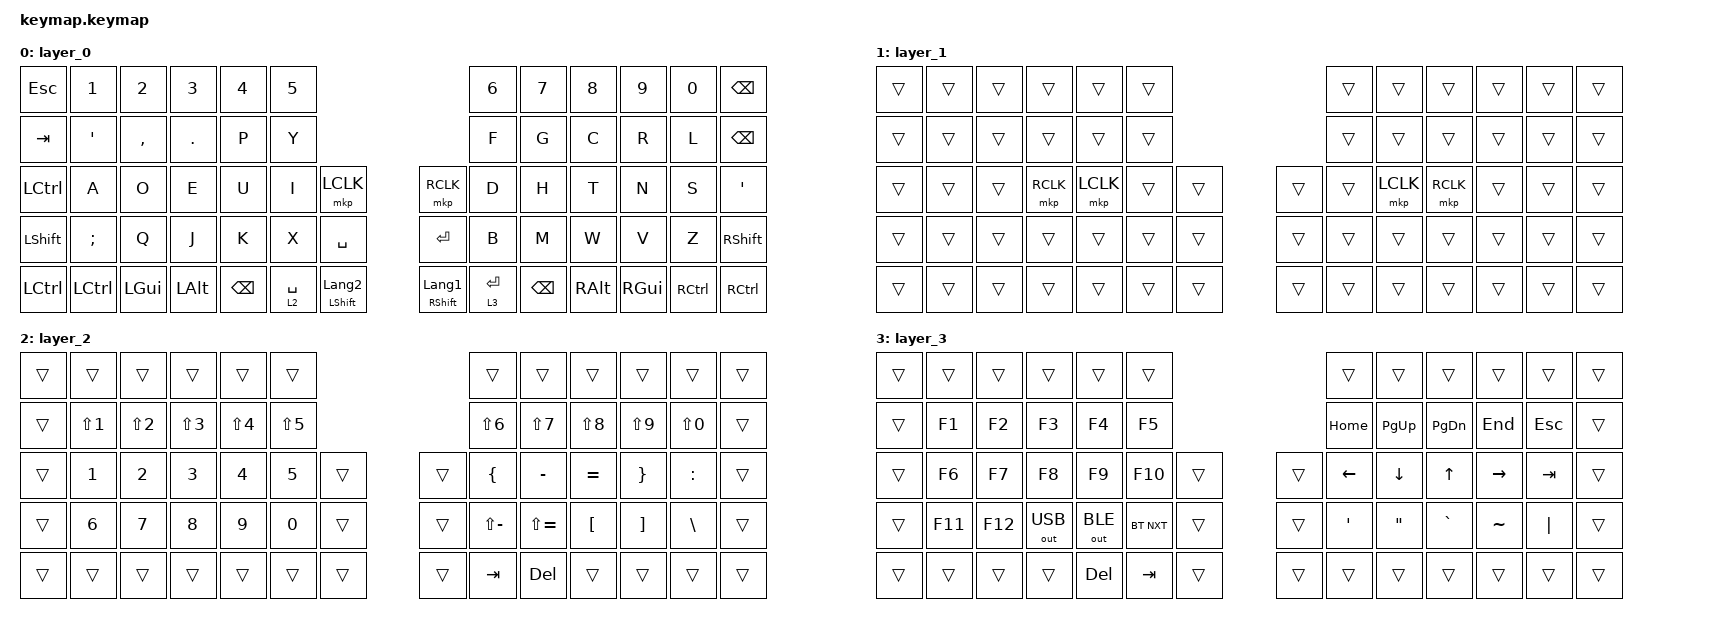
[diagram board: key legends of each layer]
#include <behaviors.dtsi>
#include <dt-bindings/zmk/bt.h>
#include <dt-bindings/zmk/keys.h>
#include <dt-bindings/zmk/outputs.h>
#include <dt-bindings/zmk/pointing.h>

/ {
    combos {
        compatible = "zmk,combos";

        bt_clear {
            bindings = <&bt BT_CLR>;
            key-positions = <28 29>;
            layers = <2>;
        };
    };

    keymap {
        compatible = "zmk,keymap";

        layer_0 {
            bindings = <
&kp ESC           &kp N1         &kp N2     &kp N3      &kp N4    &kp N5                                                         &kp N6       &kp N7    &kp N8    &kp N9    &kp N0     &kp BSPC
&kp TAB           &kp SQT        &kp COMMA  &kp PERIOD  &kp P     &kp Y                                                          &kp F        &kp G     &kp C     &kp R     &kp L      &kp BSPC
&kp LEFT_CONTROL  &kp A          &kp O      &kp E       &kp U     &kp I        &mkp LCLK                  &mkp RCLK              &kp D        &kp H     &kp T     &kp N     &kp S      &kp SQT
&kp LSHFT         &kp SEMICOLON  &kp Q      &kp J       &kp K     &kp X        &kp SPACE                  &kp RET                &kp B        &kp M     &kp W     &kp V     &kp Z      &kp RSHFT
&kp LCTRL         &kp LCTRL      &kp LGUI   &kp LALT    &kp BSPC  &lt 2 SPACE  &mt LEFT_SHIFT LANGUAGE_2  &mt RSHIFT LANGUAGE_1  &lt 3 ENTER  &kp BSPC  &kp RALT  &kp RGUI  &kp RCTRL  &kp RCTRL
            >;
        };

        layer_1 {
            bindings = <
&trans  &trans  &trans  &trans     &trans     &trans                  &trans  &trans     &trans     &trans  &trans  &trans
&trans  &trans  &trans  &trans     &trans     &trans                  &trans  &trans     &trans     &trans  &trans  &trans
&trans  &trans  &trans  &mkp RCLK  &mkp LCLK  &trans  &trans  &trans  &trans  &mkp LCLK  &mkp RCLK  &trans  &trans  &trans
&trans  &trans  &trans  &trans     &trans     &trans  &trans  &trans  &trans  &trans     &trans     &trans  &trans  &trans
&trans  &trans  &trans  &trans     &trans     &trans  &trans  &trans  &trans  &trans     &trans     &trans  &trans  &trans
            >;
        };

        layer_2 {
            bindings = <
&trans  &trans            &trans            &trans      &trans      &trans                      &trans          &trans         &trans            &trans             &trans         &trans
&trans  &kp LS(NUMBER_1)  &kp LS(NUMBER_2)  &kp LS(N3)  &kp LS(N4)  &kp LS(N5)                  &kp LS(N6)      &kp LS(N7)     &kp LS(N8)        &kp LS(N9)         &kp LS(N0)     &trans
&trans  &kp N1            &kp N2            &kp N3      &kp N4      &kp N5      &trans  &trans  &kp LEFT_BRACE  &kp MINUS      &kp EQUAL         &kp RIGHT_BRACE    &kp COLON      &trans
&trans  &kp N6            &kp N7            &kp N8      &kp N9      &kp N0      &trans  &trans  &kp LS(MINUS)   &kp LS(EQUAL)  &kp LEFT_BRACKET  &kp RIGHT_BRACKET  &kp BACKSLASH  &trans
&trans  &trans            &trans            &trans      &trans      &trans      &trans  &trans  &kp TAB         &kp DEL        &trans            &trans             &trans         &trans
            >;
        };

        layer_3 {
            bindings = <
&trans  &trans   &trans   &trans        &trans        &trans                      &trans            &trans     &trans         &trans     &trans      &trans
&trans  &kp F1   &kp F2   &kp F3        &kp F4        &kp F5                      &kp HOME          &kp PG_UP  &kp PAGE_DOWN  &kp END    &kp ESCAPE  &trans
&trans  &kp F6   &kp F7   &kp F8        &kp F9        &kp F10     &trans  &trans  &kp LEFT          &kp DOWN   &kp UP_ARROW   &kp RIGHT  &kp TAB     &trans
&trans  &kp F11  &kp F12  &out OUT_USB  &out OUT_BLE  &bt BT_NXT  &trans  &trans  &kp SINGLE_QUOTE  &kp DQT    &kp GRAVE      &kp TILDE  &kp PIPE    &trans
&trans  &trans   &trans   &trans        &kp DELETE    &kp TAB     &trans  &trans  &trans            &trans     &trans         &trans     &trans      &trans
            >;
        };
    };
};
